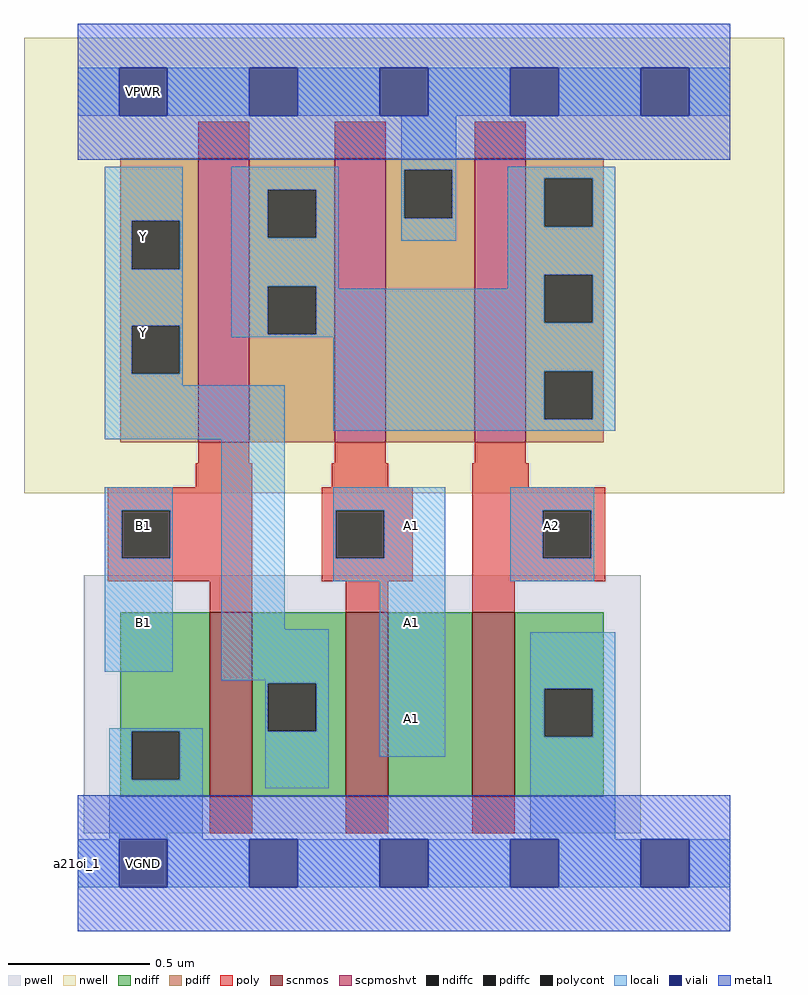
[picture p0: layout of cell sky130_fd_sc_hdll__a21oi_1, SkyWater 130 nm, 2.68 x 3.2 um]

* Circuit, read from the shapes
.subckt sky130_fd_sc_hdll__a21oi_1 A1 A2 B1 VGND VNB VPB VPWR Y
XM1 Y B1 VGND VNB sky130_fd_pr__nfet_01v8 w=0.65 l=0.15
XM2 n1 A1 Y VNB sky130_fd_pr__nfet_01v8 w=0.65 l=0.15
XM3 VGND A2 n1 VNB sky130_fd_pr__nfet_01v8 w=0.65 l=0.15
XM4 n2 B1 Y VPB sky130_fd_pr__pfet_01v8_hvt w=1 l=0.18
XM5 VPWR A1 n2 VPB sky130_fd_pr__pfet_01v8_hvt w=1 l=0.18
XM6 n2 A2 VPWR VPB sky130_fd_pr__pfet_01v8_hvt w=1 l=0.18
.ends

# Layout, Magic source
magic
tech sky130A
magscale 1 2
<< nwell >>
rect -38 261 498 582
<< pwell >>
rect 4 21 397 203
rect 29 -17 63 21
<< scnmos >>
rect 93 47 123 177
rect 189 47 219 177
rect 278 47 308 177
<< scpmoshvt >>
rect 85 297 121 497
rect 181 297 217 497
rect 280 297 316 497
<< ndiff >>
rect 30 93 93 177
rect 30 59 38 93
rect 72 59 93 93
rect 30 47 93 59
rect 123 127 189 177
rect 123 93 134 127
rect 168 93 189 127
rect 123 47 189 93
rect 219 47 278 177
rect 308 123 371 177
rect 308 89 329 123
rect 363 89 371 123
rect 308 47 371 89
<< pdiff >>
rect 30 453 85 497
rect 30 419 38 453
rect 72 419 85 453
rect 30 379 85 419
rect 30 345 38 379
rect 72 345 85 379
rect 30 297 85 345
rect 121 475 181 497
rect 121 441 134 475
rect 168 441 181 475
rect 121 407 181 441
rect 121 373 134 407
rect 168 373 181 407
rect 121 297 181 373
rect 217 489 280 497
rect 217 455 230 489
rect 264 455 280 489
rect 217 297 280 455
rect 316 483 371 497
rect 316 449 329 483
rect 363 449 371 483
rect 316 415 371 449
rect 316 381 329 415
rect 363 381 371 415
rect 316 347 371 381
rect 316 313 329 347
rect 363 313 371 347
rect 316 297 371 313
<< ndiffc >>
rect 38 59 72 93
rect 134 93 168 127
rect 329 89 363 123
<< pdiffc >>
rect 38 419 72 453
rect 38 345 72 379
rect 134 441 168 475
rect 134 373 168 407
rect 230 455 264 489
rect 329 449 363 483
rect 329 381 363 415
rect 329 313 363 347
<< poly >>
rect 85 497 121 523
rect 181 497 217 523
rect 280 497 316 523
rect 85 282 121 297
rect 181 282 217 297
rect 280 282 316 297
rect 83 265 123 282
rect 179 265 219 282
rect 278 265 318 282
rect 21 249 123 265
rect 21 215 31 249
rect 65 215 123 249
rect 21 199 123 215
rect 172 249 236 265
rect 172 215 182 249
rect 216 215 236 249
rect 172 199 236 215
rect 278 249 372 265
rect 278 215 328 249
rect 362 215 372 249
rect 278 199 372 215
rect 93 177 123 199
rect 189 177 219 199
rect 278 177 308 199
rect 93 21 123 47
rect 189 21 219 47
rect 278 21 308 47
<< polycont >>
rect 31 215 65 249
rect 182 215 216 249
rect 328 215 362 249
<< locali >>
rect 0 527 29 561
rect 63 527 121 561
rect 155 527 213 561
rect 247 527 305 561
rect 339 527 397 561
rect 431 527 460 561
rect 19 453 74 491
rect 19 419 38 453
rect 72 419 74 453
rect 19 379 74 419
rect 19 345 38 379
rect 72 345 74 379
rect 108 475 184 491
rect 108 441 134 475
rect 168 441 184 475
rect 108 407 184 441
rect 228 489 267 527
rect 228 455 230 489
rect 264 455 267 489
rect 228 439 267 455
rect 303 483 379 491
rect 303 449 329 483
rect 363 449 379 483
rect 108 373 134 407
rect 168 405 184 407
rect 303 415 379 449
rect 303 405 329 415
rect 168 381 329 405
rect 363 381 379 415
rect 168 373 379 381
rect 108 371 379 373
rect 19 337 74 345
rect 180 347 379 371
rect 19 299 146 337
rect 180 313 329 347
rect 363 313 379 347
rect 180 305 379 313
rect 19 249 67 265
rect 19 215 31 249
rect 65 215 67 249
rect 19 135 67 215
rect 101 165 146 299
rect 180 249 259 265
rect 180 215 182 249
rect 216 215 259 249
rect 180 199 259 215
rect 305 249 364 265
rect 305 215 328 249
rect 362 215 364 249
rect 305 199 364 215
rect 101 129 177 165
rect 132 127 177 129
rect 22 93 88 95
rect 22 59 38 93
rect 72 59 88 93
rect 22 17 88 59
rect 132 93 134 127
rect 168 93 177 127
rect 132 53 177 93
rect 213 75 259 199
rect 319 123 379 163
rect 319 89 329 123
rect 363 89 379 123
rect 319 17 379 89
rect 0 -17 29 17
rect 63 -17 121 17
rect 155 -17 213 17
rect 247 -17 305 17
rect 339 -17 397 17
rect 431 -17 460 17
<< viali >>
rect 29 527 63 561
rect 121 527 155 561
rect 213 527 247 561
rect 305 527 339 561
rect 397 527 431 561
rect 29 -17 63 17
rect 121 -17 155 17
rect 213 -17 247 17
rect 305 -17 339 17
rect 397 -17 431 17
<< metal1 >>
rect 0 561 460 592
rect 0 527 29 561
rect 63 527 121 561
rect 155 527 213 561
rect 247 527 305 561
rect 339 527 397 561
rect 431 527 460 561
rect 0 496 460 527
rect 0 17 460 48
rect 0 -17 29 17
rect 63 -17 121 17
rect 155 -17 213 17
rect 247 -17 305 17
rect 339 -17 397 17
rect 431 -17 460 17
rect 0 -48 460 -17
<< labels >>
flabel locali s 218 221 252 255 0 FreeSans 200 0 0 0 A1
port 1 nsew signal input
flabel locali s 29 153 63 187 0 FreeSans 200 0 0 0 B1
port 3 nsew signal input
flabel locali s 218 153 252 187 0 FreeSans 200 0 0 0 A1
port 1 nsew signal input
flabel locali s 218 85 252 119 0 FreeSans 200 0 0 0 A1
port 1 nsew signal input
flabel locali s 29 425 63 459 0 FreeSans 200 0 0 0 Y
port 8 nsew signal output
flabel locali s 29 221 63 255 0 FreeSans 200 0 0 0 B1
port 3 nsew signal input
flabel locali s 29 357 63 391 0 FreeSans 200 0 0 0 Y
port 8 nsew signal output
flabel locali s 317 221 351 255 0 FreeSans 200 0 0 0 A2
port 2 nsew signal input
flabel metal1 s 29 527 63 561 0 FreeSans 200 0 0 0 VPWR
port 7 nsew power bidirectional
flabel metal1 s 29 -17 63 17 0 FreeSans 200 0 0 0 VGND
port 4 nsew ground bidirectional
flabel nwell s 29 527 63 561 0 FreeSans 200 0 0 0 VPB
port 6 nsew power bidirectional
flabel pwell s 29 -17 63 17 0 FreeSans 200 0 0 0 VNB
port 5 nsew ground bidirectional
rlabel comment s 0 0 0 0 4 a21oi_1
<< properties >>
string LEFsite unithd
string LEFclass CORE
string FIXED_BBOX 0 0 460 544
string GDS_FILE $PDKPATH/libs.ref/sky130_fd_sc_hdll/gds/sky130_fd_sc_hdll.gds
string LEFsymmetry X Y R90
string GDS_END 1640610
string GDS_START 1635684
string LEFproperties maskLayoutSubType "abstract" prCellType "standard" originalViewName "layout"
<< end >>
